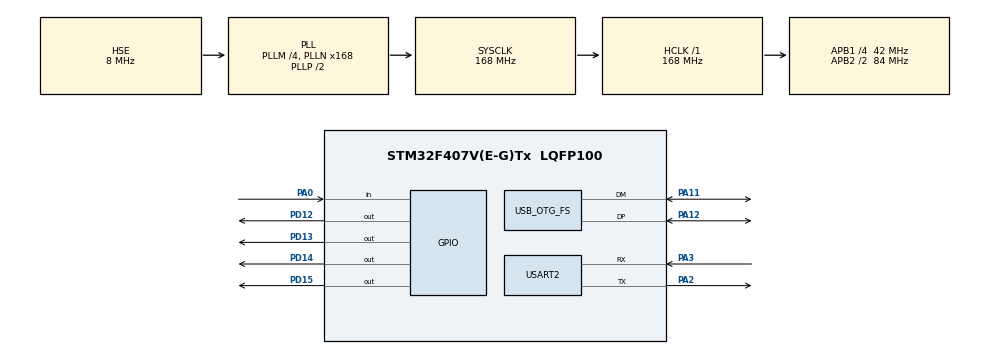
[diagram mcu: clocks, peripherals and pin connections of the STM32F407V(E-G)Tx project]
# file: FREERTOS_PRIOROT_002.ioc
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FREERTOS.Tasks01=SenderTask1,0,128,StartSenderTask1,Default,NULL,Dynamic,NULL,NULL;SenderTask2,0,128,StartSenderTask2,Default,NULL,Dynamic,NULL,NULL
FREERTOS.configUSE_NEWLIB_REENTRANT=1
Mcu.Family=STM32F4
Mcu.Name=STM32F407V(E-G)Tx
Mcu.Package=LQFP100
NVIC.OTG_FS_IRQn=true\:5\:0\:false\:false\:true\:true\:false\:true\:true
NVIC.PriorityGroup=NVIC_PRIORITYGROUP_4
NVIC.TIM2_IRQn=true\:15\:0\:false\:false\:true\:false\:false\:true\:true
NVIC.TimeBase=TIM2_IRQn
NVIC.TimeBaseIP=TIM2
PA0-WKUP.GPIO_PuPd=GPIO_PULLDOWN
PA0-WKUP.Signal=GPIO_Input
PA11.Mode=Device_Only
PA11.Signal=USB_OTG_FS_DM
PA12.Mode=Device_Only
PA12.Signal=USB_OTG_FS_DP
PA13.Mode=Serial_Wire
PA13.Signal=SYS_JTMS-SWDIO
PA14.Mode=Serial_Wire
PA14.Signal=SYS_JTCK-SWCLK
PA2.Mode=Asynchronous
PA2.Signal=USART2_TX
PA3.Mode=Asynchronous
PA3.Signal=USART2_RX
PD12.Signal=GPIO_Output
PD13.Signal=GPIO_Output
PD14.Signal=GPIO_Output
PD15.Signal=GPIO_Output
PH0-OSC_IN.Mode=HSE-External-Oscillator
PH0-OSC_IN.Signal=RCC_OSC_IN
PH1-OSC_OUT.Mode=HSE-External-Oscillator
PH1-OSC_OUT.Signal=RCC_OSC_OUT
ProjectManager.HeapSize=0x200
ProjectManager.StackSize=0x400
ProjectManager.TargetToolchain=STM32CubeIDE
RCC.48MHZClocksFreq_Value=48000000
RCC.AHBFreq_Value=168000000
RCC.APB1CLKDivider=RCC_HCLK_DIV4
RCC.APB1Freq_Value=42000000
RCC.APB1TimFreq_Value=84000000
RCC.APB2CLKDivider=RCC_HCLK_DIV2
RCC.APB2Freq_Value=84000000
RCC.APB2TimFreq_Value=168000000
RCC.CortexFreq_Value=168000000
RCC.HCLKFreq_Value=168000000
RCC.HSE_VALUE=8000000
RCC.HSI_VALUE=16000000
RCC.LSE_VALUE=32768
RCC.PLLM=4
RCC.PLLN=168
RCC.PLLQ=7
RCC.SYSCLKFreq_VALUE=168000000
RCC.SYSCLKSource=RCC_SYSCLKSOURCE_PLLCLK
RCC.VCOOutputFreq_Value=336000000
USART2.VirtualMode=VM_ASYNC
USB_DEVICE.CLASS_NAME_FS=CDC
USB_DEVICE.PRODUCT_STRING_CDC_FS=STM32 VirtualCom
USB_DEVICE.VirtualMode-CDC_FS=Cdc
USB_DEVICE.VirtualModeFS=Cdc_FS
USB_OTG_FS.VirtualMode=Device_Only
VP_FREERTOS_VS_CMSIS_V1.Mode=CMSIS_V1
VP_SYS_VS_tim2.Mode=TIM2
VP_USB_DEVICE_VS_USB_DEVICE_CDC_FS.Mode=CDC_FS
board=custom

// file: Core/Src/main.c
/* USER CODE BEGIN Header */
/**
  ******************************************************************************
  * @file           : main.c
  * @brief          : Main program body
  ******************************************************************************
  * @attention
  *
  * Copyright (c) 2024 STMicroelectronics.
  * All rights reserved.
  *
  * This software is licensed under terms that can be found in the LICENSE file
  * in the root directory of this software component.
  * If no LICENSE file comes with this software, it is provided AS-IS.
  *
  ******************************************************************************
  */
/* USER CODE END Header */
#include "main.h"
#include "cmsis_os.h"
#include "usb_device.h"

/* USER CODE BEGIN Includes */

#include "usbd_cdc.h"
#include "usbd_conf.h"
#include "usbd_desc.h"
#include "usbd_cdc_if.h"

#include "string.h"
#include "stdint.h"

#include "FreeRTOS.h"
#include "task.h"
#include "timers.h"
#include "queue.h"
#include "semphr.h"
#include "event_groups.h"

/* USER CODE END Includes */

UART_HandleTypeDef huart2;

osThreadId SenderTask1Handle;
osThreadId SenderTask2Handle;

void SystemClock_Config(void);
static void MX_GPIO_Init(void);
static void MX_USART2_UART_Init(void);
void StartSenderTask1(void const * argument);
void StartSenderTask2(void const * argument);

/* USER CODE BEGIN 0 */

/*
 *
 *
 *
 *
 *
 */

void vTask1(void *pvParameters);
void vTask2(void *pvParameters);
void vTask3(void *pvParameters);
void vTask4(void *pvParameters);
void vHighTask(void *pvParameters);
void vMediumTask(void *pvParameters);
void vLowTask(void *pvParameters);

// Task Handles
TaskHandle_t xTask1Handle = NULL;
TaskHandle_t xTask2Handle = NULL;
TaskHandle_t xTask3Handle = NULL;
TaskHandle_t xTask4Handle = NULL;
TaskHandle_t xHighTaskHandle = NULL;
TaskHandle_t xMediumTaskHandle = NULL;
TaskHandle_t xLowTaskHandle = NULL;

// Semaphore Handles
SemaphoreHandle_t myBinarySemaphoreHandle;

// Initial state priority of task 1 is : 2

//void vTask1(void *pvParameters)
//{
//  	UBaseType_t uxPriority;
//
//  	uxPriority = uxTaskPriorityGet(xTask1Handle);
//
//  	for( ;; )
//  	{
//  		HAL_Delay(1);
//
//  		char *str1 = "Task 1 is running\n";
//  		CDC_Transmit_FS((uint8_t *)str1, strlen(str1));
//
//  		HAL_Delay(1);
//
//  		char *str2 = "About to raise the Task 2 priority\n";
//  		CDC_Transmit_FS((uint8_t *)str2, strlen(str2));
//
//  		vTaskPrioritySet(xTask2Handle, uxPriority + 1);
//
//  		vTaskDelay(pdMS_TO_TICKS(2000));
//  	}
//}
//
//// Initial state priority of task 2 is : 1
//
//void vTask2(void *pvParameters)
//{
//  	UBaseType_t uxPriority;
//
//  	uxPriority = uxTaskPriorityGet(xTask2Handle);
//
//  	for( ;; )
//  	{
//  		HAL_Delay(1);
//
//  		char *str1 = "Task 2 is running\n";
//  		CDC_Transmit_FS((uint8_t *)str1, strlen(str1));
//
//  		HAL_Delay(1);
//
//  		char *str2 = "About to lower the Task 2 priority\n";
//  		CDC_Transmit_FS((uint8_t *)str2, strlen(str2));
//
//  		vTaskPrioritySet(xTask2Handle, uxPriority - 2);
//
//  		vTaskDelay(pdMS_TO_TICKS(2000));
//  	}
//
//}
//
//void vTask3(void *pvParameters)
//{
//	/*
//	HAL_GPIO_WritePin(GPIOD,GPIO_PIN_12,GPIO_PIN_SET);
//	vTaskDelay(1000);
//	HAL_GPIO_WritePin(GPIOD,GPIO_PIN_12,GPIO_PIN_RESET);
//	vTaskDelay(1000);
//	*/
//
//	 for(;;)
//	 {
//	  	HAL_GPIO_WritePin(GPIOD,GPIO_PIN_12,GPIO_PIN_SET);
//		HAL_Delay(1000);
//		HAL_GPIO_WritePin(GPIOD,GPIO_PIN_12,GPIO_PIN_RESET);
//		HAL_Delay(1000);
//
//	 }
//}
//
//
//
//void vTask4(void *pvParameters)
//{
//	/*
//	HAL_GPIO_WritePin(GPIOD,GPIO_PIN_13,GPIO_PIN_SET);
//	vTaskDelay(1000);
//	HAL_GPIO_WritePin(GPIOD,GPIO_PIN_13,GPIO_PIN_RESET);
//	vTaskDelay(1000);
//    */
//
//	 for(;;)
//	 {
//	  	  HAL_GPIO_WritePin(GPIOD,GPIO_PIN_13,GPIO_PIN_SET);
//	  	  HAL_Delay(1000);
//	      HAL_GPIO_WritePin(GPIOD,GPIO_PIN_13,GPIO_PIN_RESET);
//	      HAL_Delay(1000);
//	 }
//}
//
//void vHighTask(void *pvParameters)
//{
//
//	for(;;)
//	{
//		HAL_Delay(1);
//
//		char *str1 = "Entered High Task and waiting for Semaphore.\n";
//		// CDC_Transmit_FS((uint8_t *)str1, strlen(str1));
//		HAL_UART_Transmit(&huart2, (uint8_t *)str1, strlen(str1), 1000);
//
//		xSemaphoreTake(myBinarySemaphoreHandle,portMAX_DELAY);
//
//		HAL_Delay(1);
//		char *str2 = "Semaphore acquired by High Task\n";
//		// CDC_Transmit_FS((uint8_t *)str2, strlen(str2));
//		HAL_UART_Transmit(&huart2, (uint8_t *)str2, strlen(str2), 1000);
//
//		HAL_Delay(1);
//		char *str3 = "Leaving High Task and releasing Semaphore\n\n";
//		// CDC_Transmit_FS((uint8_t *)str3, strlen(str3));
//		HAL_UART_Transmit(&huart2, (uint8_t *)str3, strlen(str3), 1000);
//
//		xSemaphoreGive(myBinarySemaphoreHandle);
//
//		vTaskDelay(pdMS_TO_TICKS(500));
//	}
//
//}
//
//
//void vMediumTask(void *pvParameters)
//{
//
//	for(;;)
//	{
//		HAL_Delay(100);
//
//		char *str1 = "Entered Medium Task\n";
//		// CDC_Transmit_FS((uint8_t *)str1, strlen(str1));
//		HAL_UART_Transmit(&huart2, (uint8_t *)str1, strlen(str1), 1000);
//
//
//		HAL_Delay(1);
//		char *str2 = "Entered Medium Task\n\n";
//		// CDC_Transmit_FS((uint8_t *)str2, strlen(str2));
//		HAL_UART_Transmit(&huart2, (uint8_t *)str2, strlen(str2), 1000);
//
//		vTaskDelay(pdMS_TO_TICKS(500));
//	}
//
//}
//
//void vLowTask(void *pvParameters)
//{
//
//	for(;;)
//	{
//		HAL_Delay(1);
//
//		char *str1 = "Entered Low Task and waiting for Semaphore.\n";
//		// CDC_Transmit_FS((uint8_t *)str1, strlen(str1));
//		HAL_UART_Transmit(&huart2, (uint8_t *)str1, strlen(str1), 1000);
//
//		xSemaphoreTake(myBinarySemaphoreHandle,portMAX_DELAY);
//
//		HAL_Delay(1);
//		char *str2 = "Semaphore acquired by Low Task\n";
//		// CDC_Transmit_FS((uint8_t *)str2, strlen(str2));
//		HAL_UART_Transmit(&huart2, (uint8_t *)str2, strlen(str2), 1000);
//
//		while(!(HAL_GPIO_ReadPin(GPIOA,GPIO_PIN_0)));
//
//		HAL_Delay(1);
//		char *str3 = "Leaving Low Task and releasing  Semaphore.\n\n";
//		// CDC_Transmit_FS((uint8_t *)str3, strlen(str3));
//		HAL_UART_Transmit(&huart2, (uint8_t *)str3, strlen(str3), 1000);
//
//		xSemaphoreGive(myBinarySemaphoreHandle);
//
//		vTaskDelay(pdMS_TO_TICKS(500));
//	}
//}

void Task1(void *pvParameters);
void Task2(void *pvParameters);
void Task3(void *pvParameters);
void Task4(void *pvParameters);

void Task1(void *pvParameters)
{
	UBaseType_t priority1;
	TickType_t delay;
	delay = pdMS_TO_TICKS(4000);

	priority1 = uxTaskPriorityGet(xTask1Handle);

	for(;;)
	{
		HAL_Delay(1);
		char *str1 = "Entered and running Task 1\n";
		CDC_Transmit_FS((uint8_t *)str1, strlen(str1));
		HAL_Delay(1);

		//HAL_GPIO_WritePin(GPIOD,GPIO_PIN_12 | GPIO_PIN_13 | GPIO_PIN_14 | GPIO_PIN_15, GPIO_PIN_SET);

		vTaskPrioritySet(xTask2Handle,priority1 + 1);
		vTaskDelay(delay);
	}

}

void Task2(void *pvParameters)
{
	UBaseType_t priority2;
	TickType_t delay;
	delay = pdMS_TO_TICKS(4000);

	priority2 = uxTaskPriorityGet(xTask2Handle);

	for(;;)
	{
		HAL_Delay(1);
		char *str1 = "Entered and running Task 2\n";
		CDC_Transmit_FS((uint8_t *)str1, strlen(str1));
		HAL_Delay(1);

		// vTaskPrioritySet(xTask2Handle,priority2 - 2);
		vTaskPrioritySet(xTask2Handle,priority2 - 2);
		vTaskDelay(delay);
	}

}

void Task3(void *pvParameters)
{
	volatile uint8_t count_value = 0;
	TickType_t delay;

	delay = pdMS_TO_TICKS(4000);

	for(;;)
	{
		HAL_Delay(1);
		char *str1 = "Entered and running Task 3\n";
		CDC_Transmit_FS((uint8_t *)str1, strlen(str1));
		HAL_Delay(1);

		if(count_value == 3)
		{
			// xTaskNotifyGive(xTask4Handle);
			// ulTaskNotifyTake(pdTRUE, portMAX_DELAY);
			xSemaphoreGive(myBinarySemaphoreHandle);

			vTaskDelete(xTask3Handle);
		}
		else
		{
			count_value++;
		}

		vTaskDelay(delay);
	}

}

void Task4(void *pvParameters)
{
	// ulTaskNotifyTake(pdTRUE, portMAX_DELAY);

	for(;;)
	{

		if(xSemaphoreTake(myBinarySemaphoreHandle,portMAX_DELAY))
		{

			// char *str2 = "Deleting the Task 3 from Task 4\n";
			// CDC_Transmit_FS((uint8_t *)str2, strlen(str2));
			HAL_GPIO_WritePin(GPIOD,GPIO_PIN_12, GPIO_PIN_SET);

		}

	}

	// xTaskNotifyGive(xTask3Handle);
}

/* USER CODE END 0 */

int main(void)
{

  /* MCU Configuration--------------------------------------------------------*/

  /* Reset of all peripherals, Initializes the Flash interface and the Systick. */
  HAL_Init();

  /* Configure the system clock */
  SystemClock_Config();

  /* Initialize all configured peripherals */
  MX_GPIO_Init();
  MX_USART2_UART_Init();
  /* USER CODE BEGIN 2 */

  MX_USB_DEVICE_Init();

  // xTaskCreate(vTask1, "Task 1", 1000, NULL, 2, &xTask1Handle);
  // xTaskCreate(vTask2, "Task 2", 1000, NULL, 1, &xTask2Handle);
  // xTaskCreate(vTask3, "Task 3", 1000, NULL, 2, &xTask3Handle);
  // xTaskCreate(vTask4, "Task 4", 1000, NULL, 1, &xTask4Handle);

  myBinarySemaphoreHandle = xSemaphoreCreateBinary();

  // xTaskCreate(vHighTask, "High Task", 1000, NULL, 3, &xHighTaskHandle);
  // xTaskCreate(vMediumTask, "Medium Task", 1000, NULL, 2, &xMediumTaskHandle);
  // xTaskCreate(vLowTask, "Low Task", 1000, NULL, 1, &xLowTaskHandle);

  xTaskCreate(Task1,"Task 1",1000,NULL,3,&xTask1Handle);
  xTaskCreate(Task2,"Task 2",1000,NULL,2,&xTask2Handle);
  xTaskCreate(Task3,"Task 3",1000,NULL,1,&xTask3Handle);
  xTaskCreate(Task4,"Task 4",1000,NULL,5,&xTask4Handle);

  // xSemaphoreGive(myBinarySemaphoreHandle);

  vTaskStartScheduler();

  /* USER CODE END 2 */

  /* Create the thread(s) */
  /* definition and creation of SenderTask1 */
  //osThreadDef(SenderTask1, StartSenderTask1, osPriorityNormal, 0, 128);
  //SenderTask1Handle = osThreadCreate(osThread(SenderTask1), NULL);

  /* definition and creation of SenderTask2 */
  //osThreadDef(SenderTask2, StartSenderTask2, osPriorityNormal, 0, 128);
  //SenderTask2Handle = osThreadCreate(osThread(SenderTask2), NULL);

  /* Start scheduler */
  //osKernelStart();

  /* We should never get here as control is now taken by the scheduler */

  /* Infinite loop */
  while (1)
  {

  }
}

void SystemClock_Config(void)
{
  RCC_OscInitTypeDef RCC_OscInitStruct = {0};
  RCC_ClkInitTypeDef RCC_ClkInitStruct = {0};

  /** Configure the main internal regulator output voltage
  */
  __HAL_RCC_PWR_CLK_ENABLE();
  __HAL_PWR_VOLTAGESCALING_CONFIG(PWR_REGULATOR_VOLTAGE_SCALE1);

  /** Initializes the RCC Oscillators according to the specified parameters
  * in the RCC_OscInitTypeDef structure.
  */
  RCC_OscInitStruct.OscillatorType = RCC_OSCILLATORTYPE_HSE;
  RCC_OscInitStruct.HSEState = RCC_HSE_ON;
  RCC_OscInitStruct.PLL.PLLState = RCC_PLL_ON;
  RCC_OscInitStruct.PLL.PLLSource = RCC_PLLSOURCE_HSE;
  RCC_OscInitStruct.PLL.PLLM = 4;
  RCC_OscInitStruct.PLL.PLLN = 168;
  RCC_OscInitStruct.PLL.PLLP = RCC_PLLP_DIV2;
  RCC_OscInitStruct.PLL.PLLQ = 7;
  if (HAL_RCC_OscConfig(&RCC_OscInitStruct) != HAL_OK)
  {
    Error_Handler();
  }

  /** Initializes the CPU, AHB and APB buses clocks
  */
  RCC_ClkInitStruct.ClockType = RCC_CLOCKTYPE_HCLK|RCC_CLOCKTYPE_SYSCLK
                              |RCC_CLOCKTYPE_PCLK1|RCC_CLOCKTYPE_PCLK2;
  RCC_ClkInitStruct.SYSCLKSource = RCC_SYSCLKSOURCE_PLLCLK;
  RCC_ClkInitStruct.AHBCLKDivider = RCC_SYSCLK_DIV1;
  RCC_ClkInitStruct.APB1CLKDivider = RCC_HCLK_DIV4;
  RCC_ClkInitStruct.APB2CLKDivider = RCC_HCLK_DIV2;

  if (HAL_RCC_ClockConfig(&RCC_ClkInitStruct, FLASH_LATENCY_5) != HAL_OK)
  {
    Error_Handler();
  }
}

static void MX_USART2_UART_Init(void)
{

  huart2.Instance = USART2;
  huart2.Init.BaudRate = 115200;
  huart2.Init.WordLength = UART_WORDLENGTH_8B;
  huart2.Init.StopBits = UART_STOPBITS_1;
  huart2.Init.Parity = UART_PARITY_NONE;
  huart2.Init.Mode = UART_MODE_TX_RX;
  huart2.Init.HwFlowCtl = UART_HWCONTROL_NONE;
  huart2.Init.OverSampling = UART_OVERSAMPLING_16;
  if (HAL_UART_Init(&huart2) != HAL_OK)
  {
    Error_Handler();
  }

}

static void MX_GPIO_Init(void)
{
  GPIO_InitTypeDef GPIO_InitStruct = {0};

  /* GPIO Ports Clock Enable */
  __HAL_RCC_GPIOH_CLK_ENABLE();
  __HAL_RCC_GPIOA_CLK_ENABLE();
  __HAL_RCC_GPIOD_CLK_ENABLE();

  /*Configure GPIO pin Output Level */
  HAL_GPIO_WritePin(GPIOD, GPIO_PIN_12|GPIO_PIN_13|GPIO_PIN_14|GPIO_PIN_15, GPIO_PIN_RESET);

  /*Configure GPIO pin : PA0 */
  GPIO_InitStruct.Pin = GPIO_PIN_0;
  GPIO_InitStruct.Mode = GPIO_MODE_INPUT;
  GPIO_InitStruct.Pull = GPIO_PULLDOWN;
  HAL_GPIO_Init(GPIOA, &GPIO_InitStruct);

  /*Configure GPIO pins : PD12 PD13 PD14 PD15 */
  GPIO_InitStruct.Pin = GPIO_PIN_12|GPIO_PIN_13|GPIO_PIN_14|GPIO_PIN_15;
  GPIO_InitStruct.Mode = GPIO_MODE_OUTPUT_PP;
  GPIO_InitStruct.Pull = GPIO_NOPULL;
  GPIO_InitStruct.Speed = GPIO_SPEED_FREQ_LOW;
  HAL_GPIO_Init(GPIOD, &GPIO_InitStruct);

}

void HAL_TIM_PeriodElapsedCallback(TIM_HandleTypeDef *htim)
{
  if (htim->Instance == TIM2) {
    HAL_IncTick();
  }
}

void Error_Handler(void)
{
  __disable_irq();
  while (1)
  {
  }
}
